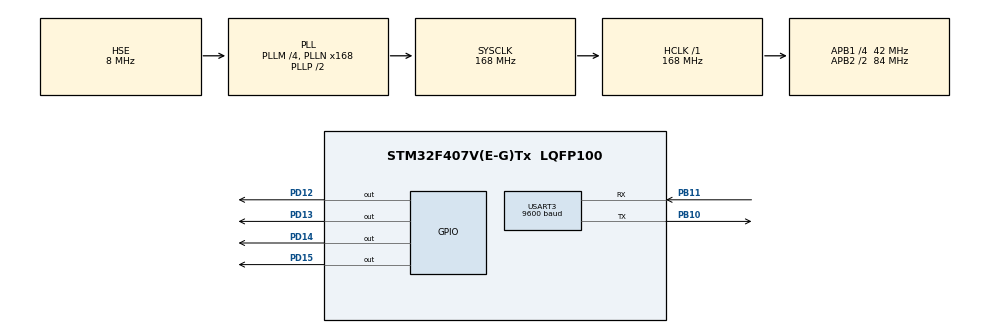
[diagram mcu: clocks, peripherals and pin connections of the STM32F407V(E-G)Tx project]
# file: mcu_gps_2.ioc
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Mcu.Family=STM32F4
Mcu.Name=STM32F407V(E-G)Tx
Mcu.Package=LQFP100
NVIC.PriorityGroup=NVIC_PRIORITYGROUP_0
PA13.Mode=Serial_Wire
PA13.Signal=SYS_JTMS-SWDIO
PA14.Mode=Serial_Wire
PA14.Signal=SYS_JTCK-SWCLK
PB10.Mode=Asynchronous
PB10.Signal=USART3_TX
PB11.Mode=Asynchronous
PB11.Signal=USART3_RX
PD12.Signal=GPIO_Output
PD13.Signal=GPIO_Output
PD14.Signal=GPIO_Output
PD15.Signal=GPIO_Output
PH0-OSC_IN.Mode=HSE-External-Oscillator
PH0-OSC_IN.Signal=RCC_OSC_IN
PH1-OSC_OUT.Mode=HSE-External-Oscillator
PH1-OSC_OUT.Signal=RCC_OSC_OUT
ProjectManager.HeapSize=0x200
ProjectManager.StackSize=0x400
ProjectManager.TargetToolchain=STM32CubeIDE
RCC.48MHZClocksFreq_Value=48000000
RCC.AHBFreq_Value=168000000
RCC.APB1CLKDivider=RCC_HCLK_DIV4
RCC.APB1Freq_Value=42000000
RCC.APB1TimFreq_Value=84000000
RCC.APB2CLKDivider=RCC_HCLK_DIV2
RCC.APB2Freq_Value=84000000
RCC.APB2TimFreq_Value=168000000
RCC.CortexFreq_Value=168000000
RCC.HCLKFreq_Value=168000000
RCC.HSE_VALUE=8000000
RCC.HSI_VALUE=16000000
RCC.LSE_VALUE=32768
RCC.PLLM=4
RCC.PLLN=168
RCC.PLLQ=7
RCC.PLLSourceVirtual=RCC_PLLSOURCE_HSE
RCC.SYSCLKFreq_VALUE=168000000
RCC.SYSCLKSource=RCC_SYSCLKSOURCE_PLLCLK
RCC.VCOOutputFreq_Value=336000000
USART3.BaudRate=9600
USART3.VirtualMode=VM_ASYNC
board=STM32F407G-DISC1

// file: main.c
/* USER CODE BEGIN Header */
/**
  ******************************************************************************
  * @file           : main.c
  * @brief          : Main program body
  ******************************************************************************
  * @attention
  *
  * Copyright (c) 2025 STMicroelectronics.
  * All rights reserved.
  *
  * This software is licensed under terms that can be found in the LICENSE file
  * in the root directory of this software component.
  * If no LICENSE file comes with this software, it is provided AS-IS.
  *
  ******************************************************************************
  */
/* USER CODE END Header */
#include "main.h"

/* USER CODE BEGIN Includes */
#include "Neo6m.h"
#include <stdio.h>
/* USER CODE END Includes */

UART_HandleTypeDef huart3;

/* USER CODE BEGIN PV */
NMEA_FieldDescriptor RmcDesc[5] = {
		{.FieldID=NMEA_RMC_LATITUDE_ID, 	.Ptr = NULL, .len = 0},
		{.FieldID=NMEA_RMC_LATITUDE_H_ID, 	.Ptr = NULL, .len = 0},
		{.FieldID=NMEA_RMC_LONGITUDE_ID,  	.Ptr = NULL, .len = 0},
		{.FieldID=NMEA_RMC_LONGITUDE_H_ID,	.Ptr = NULL, .len = 0},
		{.FieldID=NMEA_GGA_FIX_QUALITY_ID, 	.Ptr = NULL, .len = 0},
};
/* USER CODE END PV */

void SystemClock_Config(void);
static void MX_GPIO_Init(void);
static void MX_USART3_UART_Init(void);

/* USER CODE BEGIN 0 */
static void MX_NEO6M_Init(void)
{
	Neo6mConfig_TypeDef cfg;
	cfg.BaudRate = NEO6M_BAUD_9600;
	cfg.InProtocol = NEO6M_PROTOCOL_BOTH;
	cfg.OutProtocol = NEO6M_PROTOCOL_BOTH;
	cfg.SampleRate = NEO6M_RATE_5HZ;
	cfg.Message.Value = 0x00;
	cfg.Message.RMC = 1;
	NEO6M_Init(&cfg);
}

int _write(int file, char *ptr, int len)
{
	int DataIdx;

	for (DataIdx = 0; DataIdx < len; DataIdx++)
	{
		ITM_SendChar(*ptr++);
	}
	return len;
}
/* USER CODE END 0 */

int main(void)
{

  /* MCU Configuration--------------------------------------------------------*/

  /* Reset of all peripherals, Initializes the Flash interface and the Systick. */
  HAL_Init();

  /* Configure the system clock */
  SystemClock_Config();

  /* Initialize all configured peripherals */
  MX_GPIO_Init();
  MX_USART3_UART_Init();
  /* USER CODE BEGIN 2 */
  MX_NEO6M_Init();
  NEO6M_Start();
  /* USER CODE END 2 */

  /* Infinite loop */
  /* USER CODE BEGIN WHILE */
  uint32_t ulLastTimeWake = HAL_GetTick();
  while (1)
  {
  	  // Non-blocking NEO-6M read messages scheme -------------------
  	  NMEA_MessageDescriptor msgDesc;
  	  int response = NEO6M_Read(&msgDesc, "GPRMC",  1000);
  	  if(response == PROTO_OK)
  	  {
  		  uint32_t ulNow = HAL_GetTick()-ulLastTimeWake;
  		  printf("[%lu] - ", ulNow);
  		  printf("%s", msgDesc.Buffer);
  		  ulLastTimeWake = HAL_GetTick();
  		  HAL_GPIO_TogglePin(GPIOD, GPIO_PIN_13);
  		  // If at least one field was parsed
  		  if( NEO6M_ParseMessage(&msgDesc, RmcDesc, 5) == PROTO_OK)
  		  {
  			  char FieldBuffer[NMEA_MAX_FIELD_LEN];
  			  NEO6M_GetField(&RmcDesc[0], FieldBuffer);
  			  NEO6M_GetField(&RmcDesc[1], FieldBuffer);
  			  NEO6M_GetField(&RmcDesc[2], FieldBuffer);
  			  NEO6M_GetField(&RmcDesc[3], FieldBuffer);
  			  NEO6M_GetField(&RmcDesc[4], FieldBuffer);
  			  __NOP();
  		  }
  	  }
  	  // ------------------------------------------------------------
    /* USER CODE END WHILE */

  }
}

void SystemClock_Config(void)
{
  RCC_OscInitTypeDef RCC_OscInitStruct = {0};
  RCC_ClkInitTypeDef RCC_ClkInitStruct = {0};

  /** Configure the main internal regulator output voltage
  */
  __HAL_RCC_PWR_CLK_ENABLE();
  __HAL_PWR_VOLTAGESCALING_CONFIG(PWR_REGULATOR_VOLTAGE_SCALE1);

  /** Initializes the RCC Oscillators according to the specified parameters
  * in the RCC_OscInitTypeDef structure.
  */
  RCC_OscInitStruct.OscillatorType = RCC_OSCILLATORTYPE_HSE;
  RCC_OscInitStruct.HSEState = RCC_HSE_ON;
  RCC_OscInitStruct.PLL.PLLState = RCC_PLL_ON;
  RCC_OscInitStruct.PLL.PLLSource = RCC_PLLSOURCE_HSE;
  RCC_OscInitStruct.PLL.PLLM = 4;
  RCC_OscInitStruct.PLL.PLLN = 168;
  RCC_OscInitStruct.PLL.PLLP = RCC_PLLP_DIV2;
  RCC_OscInitStruct.PLL.PLLQ = 7;
  if (HAL_RCC_OscConfig(&RCC_OscInitStruct) != HAL_OK)
  {
    Error_Handler();
  }

  /** Initializes the CPU, AHB and APB buses clocks
  */
  RCC_ClkInitStruct.ClockType = RCC_CLOCKTYPE_HCLK|RCC_CLOCKTYPE_SYSCLK
                              |RCC_CLOCKTYPE_PCLK1|RCC_CLOCKTYPE_PCLK2;
  RCC_ClkInitStruct.SYSCLKSource = RCC_SYSCLKSOURCE_PLLCLK;
  RCC_ClkInitStruct.AHBCLKDivider = RCC_SYSCLK_DIV1;
  RCC_ClkInitStruct.APB1CLKDivider = RCC_HCLK_DIV4;
  RCC_ClkInitStruct.APB2CLKDivider = RCC_HCLK_DIV2;

  if (HAL_RCC_ClockConfig(&RCC_ClkInitStruct, FLASH_LATENCY_5) != HAL_OK)
  {
    Error_Handler();
  }
}

static void MX_USART3_UART_Init(void)
{

  huart3.Instance = USART3;
  huart3.Init.BaudRate = 9600;
  huart3.Init.WordLength = UART_WORDLENGTH_8B;
  huart3.Init.StopBits = UART_STOPBITS_1;
  huart3.Init.Parity = UART_PARITY_NONE;
  huart3.Init.Mode = UART_MODE_TX_RX;
  huart3.Init.HwFlowCtl = UART_HWCONTROL_NONE;
  huart3.Init.OverSampling = UART_OVERSAMPLING_16;
  if (HAL_UART_Init(&huart3) != HAL_OK)
  {
    Error_Handler();
  }

}

static void MX_GPIO_Init(void)
{
  GPIO_InitTypeDef GPIO_InitStruct = {0};

  /* GPIO Ports Clock Enable */
  __HAL_RCC_GPIOH_CLK_ENABLE();
  __HAL_RCC_GPIOB_CLK_ENABLE();
  __HAL_RCC_GPIOD_CLK_ENABLE();
  __HAL_RCC_GPIOA_CLK_ENABLE();

  /*Configure GPIO pin Output Level */
  HAL_GPIO_WritePin(GPIOD, GPIO_PIN_12|GPIO_PIN_13|GPIO_PIN_14|GPIO_PIN_15, GPIO_PIN_RESET);

  /*Configure GPIO pins : PD12 PD13 PD14 PD15 */
  GPIO_InitStruct.Pin = GPIO_PIN_12|GPIO_PIN_13|GPIO_PIN_14|GPIO_PIN_15;
  GPIO_InitStruct.Mode = GPIO_MODE_OUTPUT_PP;
  GPIO_InitStruct.Pull = GPIO_NOPULL;
  GPIO_InitStruct.Speed = GPIO_SPEED_FREQ_LOW;
  HAL_GPIO_Init(GPIOD, &GPIO_InitStruct);

}

void Error_Handler(void)
{
  __disable_irq();
  while (1)
  {
  }
}
